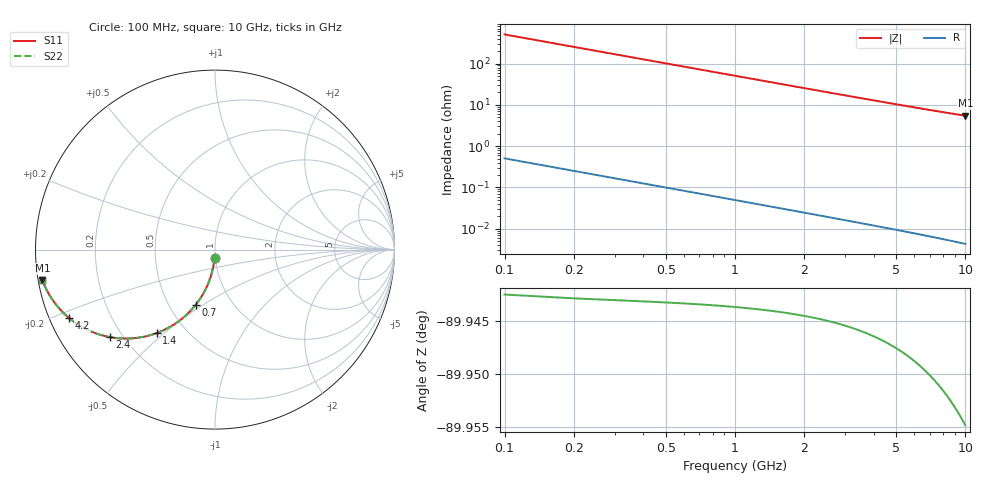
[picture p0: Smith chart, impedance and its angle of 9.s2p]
# Hz S RI R 50.00
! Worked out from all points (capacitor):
!   100 points, 100 MHz to 10 GHz, reference 50 ohm
!   read as one part in shunt: C = 3.15 pF near 100 MHz
!   lowest |Z| = 5.47 ohm at 10 GHz (marker M1)
!   S11 on the Smith chart (normalised r, x): 100 MHz: 0.99, -0.10; 700 MHz: 0.68, -0.47; 1.4 GHz: 0.34, -0.47; 2.4 GHz: 0.15, -0.35; 4.2 GHz: 0.06, -0.22; 10 GHz: 0.01, -0.09
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1e8  -0.00246 -0.0492  0.9975 -0.0496  0.9975 -0.0496  -0.00246 -0.0492
2e8  -0.00976 -0.0976  0.9902 -0.0984  0.9902 -0.0984  -0.00976 -0.0976
3e8  -0.0217 -0.1447  0.9783 -0.1458  0.9783 -0.1458  -0.0217 -0.1447
4e8  -0.0378 -0.1897  0.9621 -0.1912  0.9621 -0.1912  -0.0378 -0.1897
5e8  -0.0579 -0.2321  0.9421 -0.234  0.9421 -0.234  -0.0579 -0.2321
6e8  -0.0812 -0.2716  0.9187 -0.2738  0.9187 -0.2738  -0.0812 -0.2716
7e8  -0.1073 -0.3077  0.8926 -0.3104  0.8926 -0.3104  -0.1073 -0.3077
8e8  -0.1356 -0.3405  0.8643 -0.3435  0.8643 -0.3435  -0.1356 -0.3405
1e9  -0.1968 -0.3952  0.8031 -0.399  0.8031 -0.399  -0.1968 -0.3952
1.2e9  -0.2607 -0.4363  0.7392 -0.4408  0.7392 -0.4408  -0.2607 -0.4363
1.4e9  -0.3242 -0.4649  0.6758 -0.4702  0.6758 -0.4702  -0.3242 -0.4649
1.8e9  -0.442 -0.4927  0.5579 -0.4995  0.5579 -0.4995  -0.442 -0.4927
2.1e9  -0.5187 -0.4952  0.4812 -0.5031  0.4812 -0.5031  -0.5187 -0.4952
2.4e9  -0.5845 -0.4877  0.4154 -0.4968  0.4154 -0.4968  -0.5845 -0.4877
2.9e9  -0.6725 -0.4633  0.3274 -0.4743  0.3274 -0.4743  -0.6725 -0.4633
3.4e9  -0.7383 -0.4325  0.2615 -0.4455  0.2615 -0.4455  -0.7383 -0.4325
4.2e9  -0.8116 -0.3824  0.1882 -0.3985  0.1882 -0.3985  -0.8116 -0.3824
5.1e9  -0.8641 -0.3321  0.1356 -0.3519  0.1356 -0.3519  -0.8641 -0.3321
5.8e9  -0.8918 -0.2986  0.1079 -0.3213  0.1079 -0.3213  -0.8918 -0.2986
6.7e9  -0.9169 -0.262  0.0827 -0.2884  0.0827 -0.2884  -0.9169 -0.262
8.4e9  -0.9459 -0.2082  0.0535 -0.2419  0.0535 -0.2419  -0.9459 -0.2082
1e10  -0.9615 -0.1703  0.0375 -0.211  0.0375 -0.211  -0.9615 -0.1703
